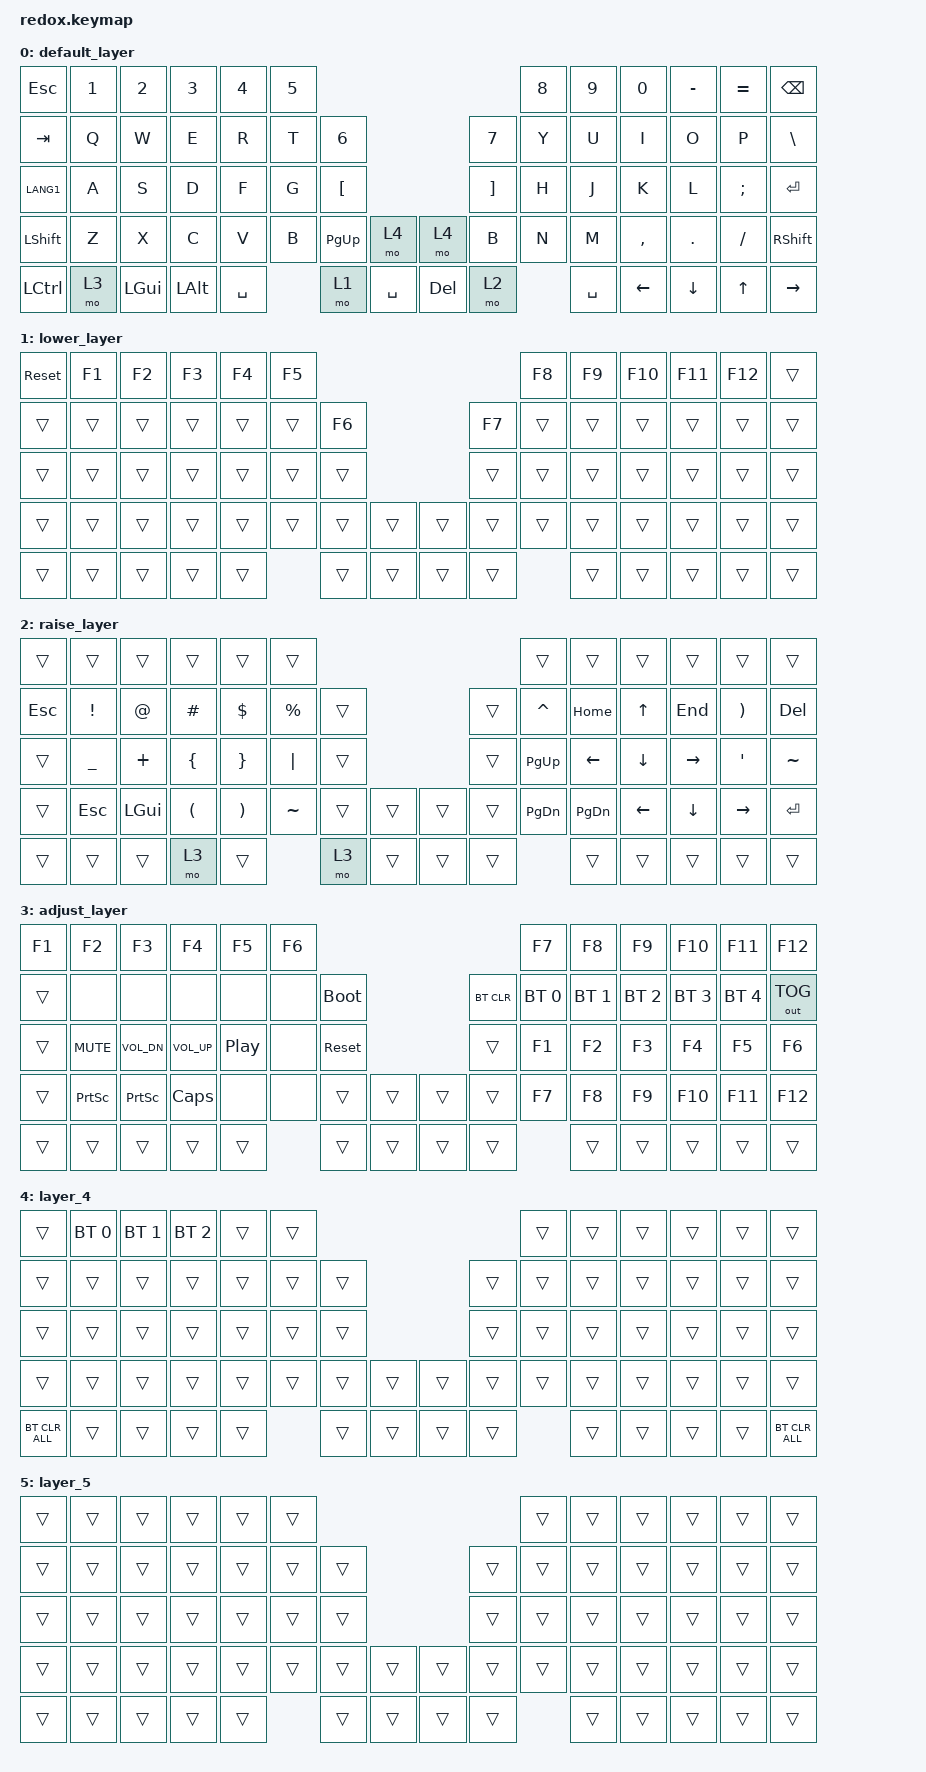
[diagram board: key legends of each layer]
/*
 * Copyright (c) 2021 The ZMK Contributors
 *
 * SPDX-License-Identifier: MIT
 */

#include <behaviors.dtsi>
#include <dt-bindings/zmk/bt.h>
#include <dt-bindings/zmk/keys.h>
#include <dt-bindings/zmk/outputs.h>

/ {
    keymap {
        compatible = "zmk,keymap";

        default_layer {
            // --------------------------------------------------------------------------------------------------------------------------------
            // | ESC   |  1  |  2  |   3   |  4  |  5  |                   ---                |  6    |  7    |  8    |  9   | 0  |    BKSP   |
            // | TAB   |  Q  |  W  |   E   |  R  |  T  |   (   |           ---        |  )    |  Y    |  U    |  I    |  O   | P  |     -     |
            // | CTRL  |  A  |  S  |   D   |  F  |  G  |   [   |           ---        |  ]    |  H    |  J    |  K    |  L   | ;  |     '     |
            // | SHIFT |  Z  |  X  |   C   |  V  |  B  | PG_UP | PG_DOWN | --- | HOME | END   |  N    |  M    |  ,    |  .   | /  | SHFT(RET) |
            // | CRTL  | ALT | GUI | LOWER |    GUI    | LOWER | SPACE   | --- | DEL  | SPACE |     RAISE     | LEFT  | DOWN | UP |   RIGHT   |

            bindings = <
&kp ESC    &kp N1  &kp N2    &kp N3        &kp N4     &kp N5                                             &kp N8  &kp N9     &kp N0          &kp MINUS  &kp EQUAL  &kp BSPC
&kp TAB    &kp Q   &kp W     &kp E         &kp R      &kp T   &kp N6                           &kp N7    &kp Y   &kp U      &kp I           &kp O      &kp P      &kp BACKSLASH
&kp LANG1  &kp A   &kp S     &kp D         &kp F      &kp G   &kp LBKT                         &kp RBKT  &kp H   &kp J      &kp K           &kp L      &kp SEMI   &kp ENTER
&kp LSHFT  &kp Z   &kp X     &kp C         &kp V      &kp B   &kp PG_UP  &mo 4        &mo 4    &kp B     &kp N   &kp M      &kp COMMA       &kp DOT    &kp FSLH   &kp RSHFT
&kp LCTRL  &mo 3   &kp LGUI  &kp LEFT_ALT  &kp SPACE          &mo 1      &kp SPACE    &kp DEL  &mo 2             &kp SPACE  &kp LEFT_ARROW  &kp DOWN   &kp UP     &kp RIGHT_ARROW
            >;
        };

        lower_layer {
            // --------------------------------------------------------------------------------------------------------------------------
            // | ESC   |  1  |  2  |   3   |   4   |  5  |                   ---              |  6  |  7  |   8  |  9   |  0  |  DEL  |
            // | ESC   |  1  |  2  |   3   |   4   |  5  |   (   |           ---        |  )  |  6  |  7  |   8  |  9   |  0  |  DEL  |
            // | CTRL  |  -  |  =  |   [   |   ]   |  \  |   [   |           ---        |  ]  |  *  |  4  |   5  |  6   |  +  |   -   |
            // | SHIFT | ESC | GUI | COPY  | PASTE |     | PG_UP | PG_DOWN | --- | HOME | END |  \  |  1  |   2  |  3   | RET |  RET  |
            // | CRTL  | ALT | GUI | LOWER |     GUI     | LOWER | SPACE   | --- | DEL  |  0  |    RAISE  | LEFT | DOWN | UP  | RIGHT |

            bindings = <
&sys_reset  &kp F1  &kp F2  &kp F3  &kp F4  &kp F5                                    &kp F8  &kp F9  &kp F10  &kp F11  &kp F12  &trans
&trans      &trans  &trans  &trans  &trans  &trans  &kp F6                    &kp F7  &trans  &trans  &trans   &trans   &trans   &trans
&trans      &trans  &trans  &trans  &trans  &trans  &trans                    &trans  &trans  &trans  &trans   &trans   &trans   &trans
&trans      &trans  &trans  &trans  &trans  &trans  &trans  &trans    &trans  &trans  &trans  &trans  &trans   &trans   &trans   &trans
&trans      &trans  &trans  &trans  &trans          &trans  &trans    &trans  &trans          &trans  &trans   &trans   &trans   &trans
            >;
        };

        raise_layer {
            // ----------------------------------------------------------------------------------------------------------------------------
            // | ESC   |  1  |  2  |   3   |  4  |  5  |                   ---                |  6   |  7   |  8   |  9   |  0    |  DEL  |
            // | ESC   |  !  |  @  |   #   |  $  |  %  |   (   |           ---        |  )    |  ^   |  &   |  *   |  (   |  )    |  DEL  |
            // | CTRL  |  _  |  +  |   {   |  }  | "|" |   [   |           ---        |  ]    | HOME | PGUP | PRSC | UP   |  `    |   ~   |
            // | SHIFT | ESC | GUI |   (   |  )  |     | PG_UP | PG_DOWN | --- | HOME | END   | END  | PGDN | LEFT | DOWN | RIGHT |  RET  |
            // | CRTL  | ALT | GUI | LOWER |    GUI    | LOWER | SPACE   | --- | DEL  | SPACE |    RAISE    | LEFT | DOWN | UP    | RIGHT |

            bindings = <
&trans   &trans     &trans    &trans    &trans    &trans                                       &trans     &trans          &trans          &trans           &trans     &trans
&kp ESC  &kp EXCL   &kp AT    &kp HASH  &kp DLLR  &kp PRCNT  &trans                    &trans  &kp CARET  &kp HOME        &kp UP_ARROW    &kp END          &kp RPAR   &kp DEL
&trans   &kp UNDER  &kp PLUS  &kp LBRC  &kp RBRC  &kp PIPE   &trans                    &trans  &kp PG_UP  &kp LEFT_ARROW  &kp DOWN_ARROW  &kp RIGHT_ARROW  &kp SQT    &kp TILDE
&trans   &kp ESC    &kp LGUI  &kp LPAR  &kp RPAR  &kp TILDE  &trans  &trans    &trans  &trans  &kp PG_DN  &kp PG_DN       &kp LEFT        &kp DOWN         &kp RIGHT  &kp RET
&trans   &trans     &trans    &mo 3     &trans               &mo 3   &trans    &trans  &trans             &trans          &trans          &trans           &trans     &trans
            >;
        };

        adjust_layer {
            // -----------------------------------------------------------------------------------------
            // |  F1   |  F2   |    F3    |    F4     |     F5     | F6 |                   ---                | F7  | F8  |  F9  |  F10 | F11 | F12        |
            // | TAB   |       |          |           |            |    | BOOTL |           ---        |  )    | BT1 | BT2 |  BT3 |  BT4 | BT5 | OUTPUT TGL |
            // | CTRL  | MUTE  |  Vol Dn  |  Vol Up   | Play/Pause |    | RESET |           ---        |  ]    | F1  | F2  |  F3  |  F4  | F5  | F6         |
            // | SHIFT | PSCRN |  PSCRN   |   CAPS    |            |    | PG_UP | PG_DOWN | --- | HOME | END   | F7  | F8  |  F9  |  F10 | F11 | F12        |
            // | CRTL  | ALT   |  GUI     |   LOWER   |      GUI        | LOWER | SPACE   | --- | DEL  | SPACE |   RAISE   | LEFT | DOWN | UP  |   RIGHT    |

            bindings = <
&kp F1  &kp F2      &kp F3        &kp F4        &kp F5            &kp F6                                             &kp F7        &kp F8        &kp F9        &kp F10       &kp F11       &kp F12
&trans  &none       &none         &none         &none             &none   &bootloader                    &bt BT_CLR  &bt BT_SEL 0  &bt BT_SEL 1  &bt BT_SEL 2  &bt BT_SEL 3  &bt BT_SEL 4  &out OUT_TOG
&trans  &kp K_MUTE  &kp C_VOL_DN  &kp C_VOL_UP  &kp C_PLAY_PAUSE  &none   &sys_reset                     &trans      &kp F1        &kp F2        &kp F3        &kp F4        &kp F5        &kp F6
&trans  &kp PSCRN   &kp PSCRN     &kp CLCK      &none             &none   &trans       &trans    &trans  &trans      &kp F7        &kp F8        &kp F9        &kp F10       &kp F11       &kp F12
&trans  &trans      &trans        &trans        &trans                    &trans       &trans    &trans  &trans                    &trans        &trans        &trans        &trans        &trans
            >;
        };

        layer_4 {
            bindings = <
&trans          &bt BT_SEL 0  &bt BT_SEL 1  &bt BT_SEL 2  &trans  &trans                                    &trans  &trans  &trans  &trans  &trans  &trans
&trans          &trans        &trans        &trans        &trans  &trans  &trans                    &trans  &trans  &trans  &trans  &trans  &trans  &trans
&trans          &trans        &trans        &trans        &trans  &trans  &trans                    &trans  &trans  &trans  &trans  &trans  &trans  &trans
&trans          &trans        &trans        &trans        &trans  &trans  &trans  &trans    &trans  &trans  &trans  &trans  &trans  &trans  &trans  &trans
&bt BT_CLR_ALL  &trans        &trans        &trans        &trans          &trans  &trans    &trans  &trans          &trans  &trans  &trans  &trans  &bt BT_CLR_ALL
            >;
        };

        layer_5 {
            bindings = <
&trans  &trans  &trans  &trans  &trans  &trans                                    &trans  &trans  &trans  &trans  &trans  &trans
&trans  &trans  &trans  &trans  &trans  &trans  &trans                    &trans  &trans  &trans  &trans  &trans  &trans  &trans
&trans  &trans  &trans  &trans  &trans  &trans  &trans                    &trans  &trans  &trans  &trans  &trans  &trans  &trans
&trans  &trans  &trans  &trans  &trans  &trans  &trans  &trans    &trans  &trans  &trans  &trans  &trans  &trans  &trans  &trans
&trans  &trans  &trans  &trans  &trans          &trans  &trans    &trans  &trans          &trans  &trans  &trans  &trans  &trans
            >;
        };
    };
};
